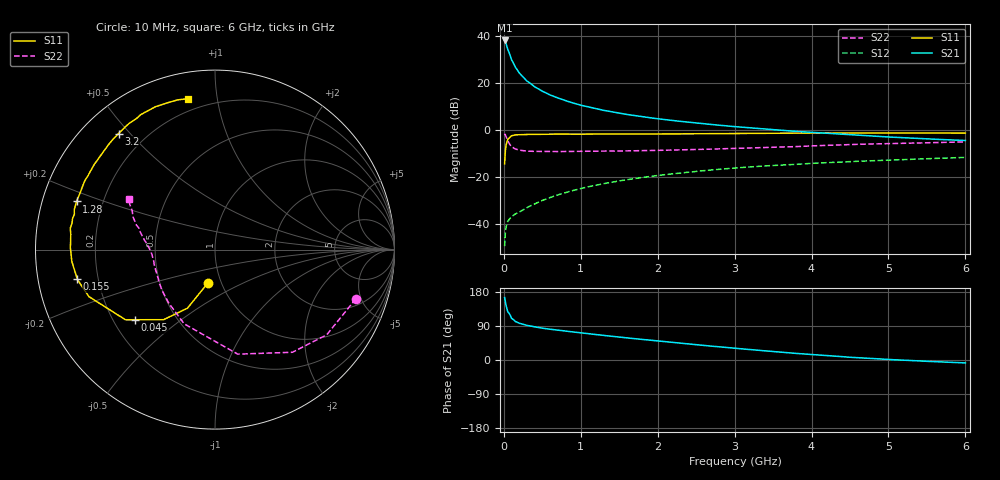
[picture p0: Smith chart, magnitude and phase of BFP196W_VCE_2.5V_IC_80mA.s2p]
! Infineon Technologies  Discrete & RF Semiconductors
! BFP196W
! VCE = 2.5 V,  IC =  80mA
! Common Emitter S-Parameters:  Jan 2016
# GHz  S  MA  R  50
!  f  S11  S21  S12  S22
! GHz  MAG  ANG  MAG  ANG  MAG  ANG  MAG  ANG
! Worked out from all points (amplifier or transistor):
!   210 points, 10 MHz to 6 GHz, reference 50 ohm
!   highest |S21| = 38.0 dB at 10 MHz (marker M1)
!   |S21| within 3 dB of that: start of sweep to 43.77 MHz
!   unconditionally stable (mu >= 1): 459.7 MHz to 3.39 GHz
!   at 185 MHz: K = 0.70, MSG = 30.1 dB, |S12| = -35.1 dB
!   at 1.52 GHz: K = 1.11, MAG = 12.2 dB, |S12| = -21.6 dB
!   at 6 GHz: K = 0.97, MSG = 3.6 dB, |S12| = -11.7 dB
!   S11 on the Smith chart (normalised r, x): 10 MHz: 0.86, -0.33; 45 MHz: 0.29, -0.35; 155 MHz: 0.12, -0.10; 1.28 GHz: 0.10, +0.17; 3.2 GHz: 0.11, +0.47; 6 GHz: 0.13, +0.83
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0.01  0.1903 -102.1  79.17 164.7  0.0034 73.2  0.8315 -19.2
0.02  0.3611 -115.2  74.36 153.1  0.0066 65.2  0.7829 -37.3
0.03  0.4846 -126.3  66.75 142.7  0.0088 60.4  0.7163 -53.0
0.045  0.5929 -138.7  55.19 132.0  0.0107 50.0  0.6143 -70.7
0.05  0.6337 -141.9  51.88 127.5  0.0114 47.3  0.5961 -77.7
0.1  0.7503 -159.6  30.88 110.0  0.0144 41.8  0.4479 -112.5
0.15  0.7841 -167.6  21.4 101.5  0.0164 44.0  0.3939 -130.9
0.155  0.7846 -168.0  20.87 101.2  0.0166 44.3  0.3912 -131.9
0.2  0.7912 -171.9  16.21 97.1  0.018 47.1  0.373 -141.8
0.26  0.8005 -175.3  12.67 93.4  0.0205 50.7  0.3612 -149.6
0.3  0.8017 -177.1  10.91 91.4  0.0224 53.1  0.3542 -153.9
0.4  0.8057 179.3  8.233 87.3  0.0268 57.1  0.3502 -160.1
0.6  0.808 173.9  5.526 81.2  0.0365 62.6  0.3477 -167.5
0.8  0.8102 169.6  4.169 76.2  0.0467 64.7  0.3474 -171.1
1.02  0.8094 165.6  3.287 71.3  0.0581 65.1  0.3508 -174.0
1.28  0.8161 160.8  2.639 65.3  0.0712 64.5  0.3539 -176.3
2.02  0.82 148.2  1.708 49.7  0.1086 59.8  0.368 178.3
3.1  0.8386 131.2  1.14 29.4  0.1592 49.9  0.4091 169.9
3.2  0.8406 129.7  1.108 27.5  0.1634 48.9  0.4137 169.2
4.1  0.8583 117.6  0.869 13.1  0.1982 40.6  0.4639 161.9
5.1  0.8594 107.1  0.694 0.5  0.2313 32.2  0.5167 154.1
6  0.8543 100.0  0.596 -7.7  0.2607 25.7  0.5561 149.7
